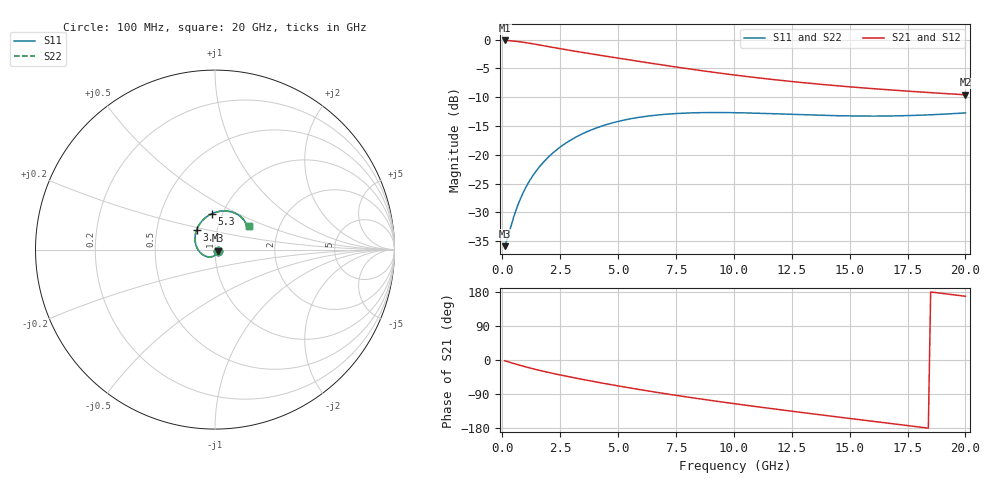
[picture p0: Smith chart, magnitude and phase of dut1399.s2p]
! Touchstone file exported from HFSS 2024.1.0
!  File:  C:/UserFiles/LocalFiles/RDL_TSV_Batchsim/temp_RDL_TSV_1399_1780405751.aedt
!  Generated:  09:22:46 PM Jun  2, 2026
!  Design:  RDL_TSV
!  Project:  temp_RDL_TSV_1399_1780405751
!  Setup:  Setup1
!  Solution:  Sweep
! Variables:
!  dtsv = 14.16um
!  hbump = 3um
!  htsv = 93.2um
!  ldown = 399.65um
!  lrdl = 271.4um
!  p = 40
!  p1 = 47.61um
!  rhole = 10um
!  subl = 2284.55um
!  t = 450um
!  tdown = 3.13um
!  trdl = 4.89um
!  viad = 10um
!  wdown = 10.99um
!  wrdl = 29um
!  xbump = 18um
# GHz S MA R 50.000000
! Terminal data exported
! Port[1] = TM1_1_T1
! Port[2] = TM1_4_T1
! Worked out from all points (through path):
!   200 points, 100 MHz to 20 GHz, reference 50 ohm
!   highest |S21| = -0.14 dB at 100 MHz (marker M1); lowest = -9.6 dB at 20 GHz (marker M2)
!   group delay of S21, straight-line fit = 24.9 ps
!   lowest |S11| = -35.9 dB at 100 MHz (marker M3), VSWR 1.03, Z = 51.5 - j0.619 ohm
!   |S11| at or under -10 dB: start of sweep to end of sweep
!   |S22| runs from -35.9 to -12.7 dB; largest |S21 - S12| = 2.5e-14
!   S11 on the Smith chart (normalised r, x): 100 MHz: 1.03, -0.01; 3.4 GHz: 0.80, +0.18; 5.3 GHz: 0.89, +0.37; 20 GHz: 1.40, +0.40
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0.1  0.01611 -21.9  0.984 -1.9  0.984 -1.9  0.01611 -21.9
! Gamma 0 0 0 0
! Port Impedance 50 0 50 0
0.2  0.01828 -41.7  0.9821 -3.8  0.9821 -3.8  0.01828 -41.7
0.5  0.02914 -84.6  0.9718 -9.3  0.9718 -9.3  0.02915 -84.6
0.7  0.03781 -104.3  0.9618 -12.9  0.9618 -12.9  0.03781 -104.3
1  0.05137 -127.5  0.9432 -18.0  0.9432 -18.0  0.05138 -127.5
1.3  0.06504 -146.5  0.9218 -22.8  0.9218 -22.8  0.06504 -146.4
1.7  0.08297 -167.5  0.8918 -28.7  0.8918 -28.7  0.08295 -167.5
2.2  0.1045 170.8  0.8553 -35.6  0.8553 -35.6  0.1044 170.9
2.8  0.1285 149.8  0.8148 -43.2  0.8148 -43.2  0.1284 149.9
3.4  0.1502 132.8  0.7779 -50.4  0.7779 -50.4  0.1501 132.8
3.5  0.1536 130.3  0.772 -51.6  0.772 -51.6  0.1535 130.3
4.4  0.1805 110.4  0.7221 -61.8  0.7221 -61.8  0.1803 110.5
5.3  0.2011 94.8  0.6763 -71.5  0.6763 -71.5  0.2008 94.8
6.8  0.2227 75.0  0.6076 -86.6  0.6076 -86.6  0.2224 75.0
8.4  0.232 60.0  0.5452 -101.4  0.5452 -101.4  0.2317 60.0
10.1  0.2321 49.0  0.4911 -116.0  0.4911 -116.0  0.2317 49.0
11.7  0.2275 42.1  0.4503 -128.9  0.4503 -128.9  0.2271 42.1
13.4  0.2215 37.7  0.4157 -142.1  0.4157 -142.1  0.2211 37.7
15  0.2176 35.8  0.3895 -154.2  0.3895 -154.2  0.2172 35.8
16.7  0.2174 35.3  0.3667 -167.0  0.3667 -167.0  0.217 35.3
18.3  0.2218 35.4  0.3486 -179.0  0.3486 -179.0  0.2214 35.4
20  0.2312 35.4  0.3321 168.2  0.3321 168.2  0.2308 35.4
